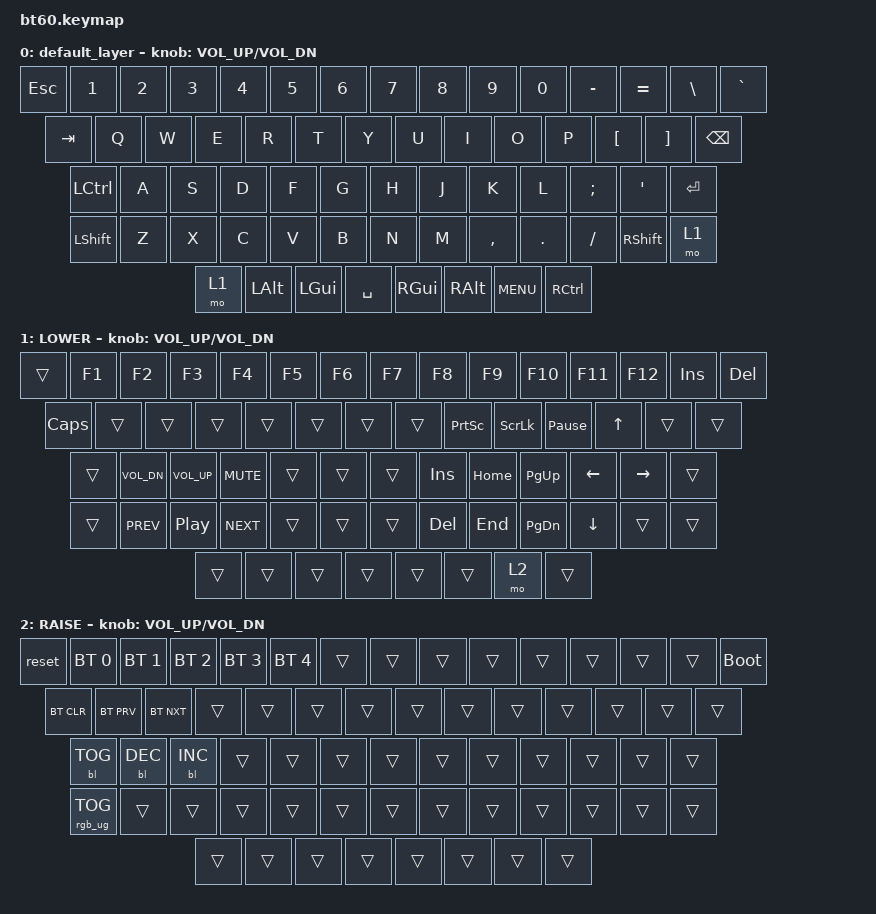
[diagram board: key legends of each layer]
#include <behaviors.dtsi>
#include <dt-bindings/zmk/keys.h>
#include <dt-bindings/zmk/bt.h>
#include <dt-bindings/zmk/rgb.h>
#include <dt-bindings/zmk/backlight.h>

#define DEFAULT 0
#define LOWER   1
#define RAISE   2

/ {
	keymap {
		compatible = "zmk,keymap";
		
		default_layer {
				// ------------------------------------------------------------------------------------------
				// | ESC |  1  |  2  |  3  |  4  |  5  |  6  |  7  |  8  |  9  |  0  |  -  |  =  |  \  |  ` | 15 keys
				// | TAB  |  Q  |  W  |  E  |  R  |  T  |  Y  |  U  |  I  |  O  |  P  |  [  |  ]  |   BKSP  | 14 keys
				// | CTL   |  A  |  S  |  D  |  F  |  G  |  H  |  J  |  K  |  L  |  ;  |  '  |     ENTER    | 13 keys
				// | SHIFT    |  Z  |  X  |  C  |  V  |  B  |  N  |  M  |  ,  |  .  | /   |  SHIFT  | MO(1) | 13 keys
				// | MO(1) |  ALT  |  WIN  |           SPACE           |   WIN    |   ALT   |  MENU  | CTRL | 08 keys
				// ------------------------------------------------------------------------------------------
			bindings = <
				&kp ESC &kp N1 &kp N2 &kp N3 &kp N4 &kp N5 &kp N6 &kp N7 &kp N8 &kp N9 &kp N0 &kp MINUS &kp EQUAL &kp BSLH &kp GRAVE
				&kp TAB &kp Q &kp W &kp E &kp R &kp T &kp Y &kp U &kp I &kp O &kp P &kp LBKT &kp RBKT &kp BSPC
				&kp LCTRL &kp A &kp S &kp D &kp F &kp G &kp H &kp J &kp K &kp L &kp SEMI &kp SQT &kp RET
				&kp LSHFT &kp Z &kp X &kp C &kp V &kp B &kp N &kp M &kp COMMA &kp DOT &kp FSLH &kp RSHFT &mo 1
				&mo 1 &kp LALT &kp LGUI &kp SPACE &kp RGUI &kp RALT &kp C_MENU &kp RCTRL
			>;
			sensor-bindings = <&inc_dec_kp C_VOL_UP C_VOL_DN>;
		};
		LOWER {
		    // ------------------------------------------------------------------------------------------
				// | ESC   |  F1 |  F2 |  F3 |  F4 |  F5 |  F6 |  F7 | F8 | F9 | F10 | F11 | F12 | INS | DEL |
				// | CAPS  |  Q  |  W  |  E  |  R  |  T  |  Y  |  U  | PSCRN | SLCK | PAUSE | UP | ] | BSPC  |
				// | CTL   | VOL_DN | VOL_UP | MUTE | F | G | H | INS | HOME | PG_UP | LEFT | RIGHT | ENTER  |
				// | SHIFT | PREV | PLAY/PAUSE | NEXT | V | B | N | DEL | END | PG_DN | DOWN | SHIFT | MO(1) |
				// | MO(1) |  ALT  |  WIN  |             SPACE            |  WIN  |  ALT  |  MO(2)  |  CTRL  |
				// ------------------------------------------------------------------------------------------
			bindings = <
				&trans &kp F1 &kp F2 &kp F3 &kp F4 &kp F5 &kp F6 &kp F7 &kp F8 &kp F9 &kp F10 &kp F11 &kp F12 &kp INS &kp DEL 
				&kp CLCK &trans &trans &trans &trans &trans &trans &trans &kp PSCRN &kp SLCK &kp PAUSE_BREAK &kp UP &trans &trans
				&trans &kp C_VOL_DN &kp C_VOL_UP &kp C_MUTE &trans &trans &trans &kp INS &kp HOME &kp PG_UP &kp LEFT &kp RIGHT &trans
				&trans &kp C_PREV &kp C_PP &kp C_NEXT &trans &trans &trans &kp DEL &kp END &kp PG_DN &kp DOWN &trans &trans
				&trans &trans &trans &trans &trans &trans &mo 2 &trans
			>;
			sensor-bindings = <&inc_dec_kp C_VOL_UP C_VOL_DN>;
		};
		RAISE {
				// ------------------------------------------------------------------------------------------
				// | RESET | BT_1 | BT_2 | BT_3 | BT_4 | BT_5 | 6 | 7 | 8 | 9 | 0 | -  | = | \ | BOOTLOADER |
				// | BT_CLR  |  BT_PRV  |  BT_NXT  | E |  R  |  T  |  Y  |  U |  I |  O |  P | [ | ] | BSPC |
				// | BL_TOG | BL_DEC | BL_INC |  D  |  F  |  G  |  H  |  J  |  K  |  L  |  ;  |  '  | ENTER |
				// | RGB_TOG     | Z |  X  |  C  |  V  |  B  |  N  |  M  |  ,  |  .  | /  |  SHIFT  | MO(1) |
				// | MO(1) |  ALT  |  WIN  |           SPACE           |   WIN   |   ALT   |  MO(2)  | CTRL |
				// ------------------------------------------------------------------------------------------
			bindings = <
				&reset &bt BT_SEL 0 &bt BT_SEL 1 &bt BT_SEL 2 &bt BT_SEL 3 &bt BT_SEL 4 &trans &trans &trans &trans &trans &trans &trans &trans &bootloader 
				&bt BT_CLR &bt BT_PRV &bt BT_NXT &trans &trans &trans &trans &trans &trans &trans &trans &trans &trans &trans
				&bl BL_TOG &bl BL_DEC &bl BL_INC &trans &trans &trans &trans &trans &trans &trans &trans &trans &trans
				&rgb_ug RGB_TOG &trans &trans &trans &trans &trans &trans &trans &trans &trans &trans &trans &trans
				&trans &trans &trans &trans &trans &trans &trans &trans
			>;
			sensor-bindings = <&inc_dec_kp C_VOL_UP C_VOL_DN>;
		};
	};
};
